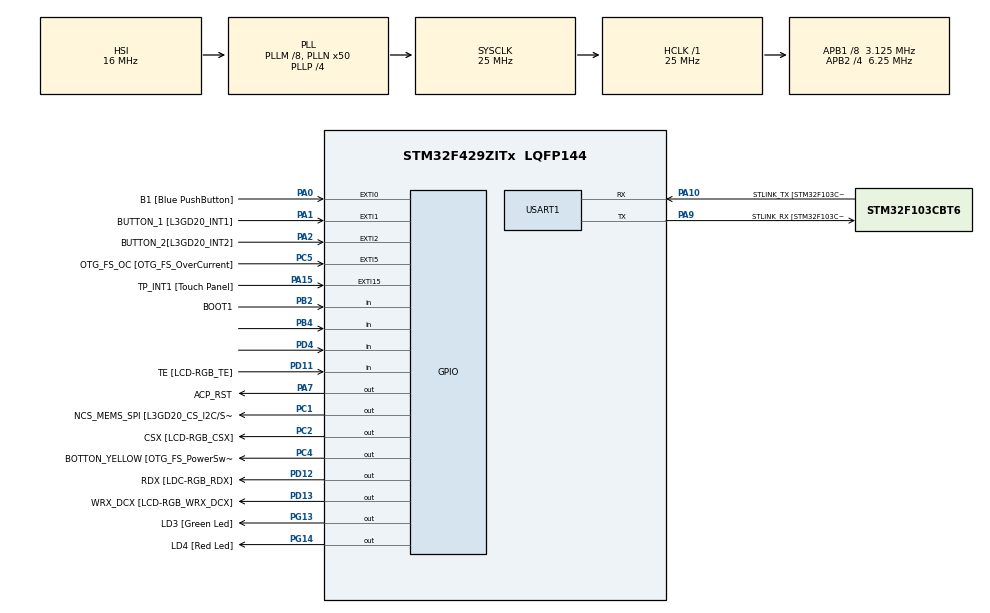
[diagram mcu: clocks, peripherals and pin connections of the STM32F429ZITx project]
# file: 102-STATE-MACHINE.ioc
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Mcu.Family=STM32F4
Mcu.Name=STM32F429ZITx
Mcu.Package=LQFP144
NVIC.EXTI1_IRQn=true\:0\:0\:false\:false\:true\:true\:true\:true
NVIC.EXTI2_IRQn=true\:0\:0\:false\:false\:true\:true\:true\:true
NVIC.PriorityGroup=NVIC_PRIORITYGROUP_4
NVIC.TIM6_DAC_IRQn=true\:0\:0\:false\:false\:true\:false\:true\:true
NVIC.TimeBase=TIM6_DAC_IRQn
NVIC.TimeBaseIP=TIM6
PA0/WKUP.GPIO_Label=B1 [Blue PushButton]
PA0/WKUP.GPIO_ModeDefaultEXTI=GPIO_MODE_EVT_RISING
PA0/WKUP.GPIO_PuPd=GPIO_NOPULL
PA0/WKUP.Signal=GPXTI0
PA1.GPIO_Label=BUTTON_1 [L3GD20_INT1]
PA1.GPIO_ModeDefaultEXTI=GPIO_MODE_IT_RISING
PA1.GPIO_PuPd=GPIO_PULLDOWN
PA1.Signal=GPXTI1
PA10.GPIO_Label=STLINK_TX [STM32F103CBT6_PA2]
PA10.Mode=Asynchronous
PA10.Signal=USART1_RX
PA11.GPIO_Label=R4
PA11.GPIO_Mode=GPIO_MODE_AF_PP
PA11.GPIO_PuPd=GPIO_NOPULL
PA11.GPIO_Speed=GPIO_SPEED_FREQ_LOW
PA11.Signal=LTDC_R4
PA12.GPIO_Label=R5
PA12.GPIO_Mode=GPIO_MODE_AF_PP
PA12.GPIO_PuPd=GPIO_NOPULL
PA12.GPIO_Speed=GPIO_SPEED_FREQ_LOW
PA12.Signal=LTDC_R5
PA13.GPIO_Label=SWDIO
PA13.Signal=SYS_JTMS-SWDIO
PA14.GPIO_Label=SWCLK
PA14.Signal=SYS_JTCK-SWCLK
PA15.GPIO_Label=TP_INT1 [Touch Panel]
PA15.GPIO_ModeDefaultEXTI=GPIO_MODE_EVT_RISING
PA15.GPIO_PuPd=GPIO_NOPULL
PA15.Signal=GPXTI15
PA2.GPIO_Label=BUTTON_2[L3GD20_INT2]
PA2.GPIO_ModeDefaultEXTI=GPIO_MODE_IT_RISING
PA2.GPIO_PuPd=GPIO_PULLDOWN
PA2.Signal=GPXTI2
PA3.GPIO_Label=B5
PA3.GPIO_Mode=GPIO_MODE_AF_PP
PA3.GPIO_PuPd=GPIO_NOPULL
PA3.GPIO_Speed=GPIO_SPEED_FREQ_LOW
PA3.Signal=LTDC_B5
PA4.GPIO_Label=VSYNC
PA4.GPIO_Mode=GPIO_MODE_AF_PP
PA4.GPIO_PuPd=GPIO_NOPULL
PA4.GPIO_Speed=GPIO_SPEED_FREQ_LOW
PA4.Signal=LTDC_VSYNC
PA6.GPIO_Label=G2
PA6.GPIO_Mode=GPIO_MODE_AF_PP
PA6.GPIO_PuPd=GPIO_NOPULL
PA6.GPIO_Speed=GPIO_SPEED_FREQ_LOW
PA6.Signal=LTDC_G2
PA7.GPIO_Label=ACP_RST
PA7.GPIO_Mode=GPIO_MODE_OUTPUT_PP
PA7.GPIO_PuPd=GPIO_NOPULL
PA7.GPIO_Speed=GPIO_SPEED_FREQ_LOW
PA7.Signal=GPIO_Output
PA8.GPIO_Label=I2C3_SCL [ACP/RF_SCL]
PA8.GPIO_Mode=GPIO_MODE_AF_OD
PA8.GPIO_PuPd=GPIO_NOPULL
PA8.GPIO_Speed=GPIO_SPEED_FREQ_LOW
PA8.Signal=I2C3_SCL
PA9.GPIO_Label=STLINK_RX [STM32F103CBT6_PA3]
PA9.Mode=Asynchronous
PA9.Signal=USART1_TX
PB0.GPIO_Label=R3
PB0.GPIO_Mode=GPIO_MODE_AF_PP
PB0.GPIO_PuPd=GPIO_NOPULL
PB0.GPIO_Speed=GPIO_SPEED_FREQ_LOW
PB0.Signal=LTDC_R3
PB1.GPIO_Label=R6
PB1.GPIO_Mode=GPIO_MODE_AF_PP
PB1.GPIO_PuPd=GPIO_NOPULL
PB1.GPIO_Speed=GPIO_SPEED_FREQ_LOW
PB1.Signal=LTDC_R6
PB10.GPIO_Label=G4
PB10.GPIO_Mode=GPIO_MODE_AF_PP
PB10.GPIO_PuPd=GPIO_NOPULL
PB10.GPIO_Speed=GPIO_SPEED_FREQ_LOW
PB10.Signal=LTDC_G4
PB11.GPIO_Label=G5
PB11.GPIO_Mode=GPIO_MODE_AF_PP
PB11.GPIO_PuPd=GPIO_NOPULL
PB11.GPIO_Speed=GPIO_SPEED_FREQ_LOW
PB11.Signal=LTDC_G5
PB12.GPIO_Label=OTG_HS_ID
PB12.GPIO_Mode=GPIO_MODE_AF_PP
PB12.GPIO_PuPd=GPIO_NOPULL
PB12.GPIO_Speed=GPIO_SPEED_FREQ_LOW
PB12.Signal=USB_OTG_HS_ID
PB13.GPIO_Label=VBUS_HS
PB13.GPIO_Mode=GPIO_MODE_INPUT
PB13.GPIO_PuPd=GPIO_NOPULL
PB13.Signal=USB_OTG_HS_VBUS
PB14.GPIO_Label=OTG_HS_DM
PB14.GPIO_Mode=GPIO_MODE_AF_PP
PB14.GPIO_PuPd=GPIO_NOPULL
PB14.GPIO_Speed=GPIO_SPEED_FREQ_LOW
PB14.Signal=USB_OTG_HS_DM
PB15.GPIO_Label=OTG_HS_DP
PB15.GPIO_Mode=GPIO_MODE_AF_PP
PB15.GPIO_PuPd=GPIO_NOPULL
PB15.GPIO_Speed=GPIO_SPEED_FREQ_LOW
PB15.Signal=USB_OTG_HS_DP
PB2/BOOT1.GPIO_Label=BOOT1
PB2/BOOT1.GPIO_Mode=GPIO_MODE_INPUT
PB2/BOOT1.GPIO_PuPd=GPIO_PULLDOWN
PB2/BOOT1.Signal=GPIO_Input
PB4.Signal=GPIO_Input
PB5.GPIO_Label=SDCKE1
PB5.GPIO_Mode=GPIO_MODE_AF_PP
PB5.GPIO_PuPd=GPIO_NOPULL
PB5.GPIO_Speed=GPIO_SPEED_FREQ_VERY_HIGH
PB5.Signal=FMC_SDCKE1
PB6.GPIO_Label=SDNE1 [SDRAM_CS]
PB6.GPIO_Mode=GPIO_MODE_AF_PP
PB6.GPIO_PuPd=GPIO_NOPULL
PB6.GPIO_Speed=GPIO_SPEED_FREQ_VERY_HIGH
PB6.Signal=FMC_SDNE1
PB8.GPIO_Label=B6
PB8.GPIO_Mode=GPIO_MODE_AF_PP
PB8.GPIO_PuPd=GPIO_NOPULL
PB8.GPIO_Speed=GPIO_SPEED_FREQ_LOW
PB8.Signal=LTDC_B6
PB9.GPIO_Label=B7
PB9.GPIO_Mode=GPIO_MODE_AF_PP
PB9.GPIO_PuPd=GPIO_NOPULL
PB9.GPIO_Speed=GPIO_SPEED_FREQ_LOW
PB9.Signal=LTDC_B7
PC0.GPIO_Label=SDNWE
PC0.GPIO_Mode=GPIO_MODE_AF_PP
PC0.GPIO_PuPd=GPIO_NOPULL
PC0.GPIO_Speed=GPIO_SPEED_FREQ_VERY_HIGH
PC0.Signal=FMC_SDNWE
PC1.GPIO_Label=NCS_MEMS_SPI [L3GD20_CS_I2C/SPI]
PC1.GPIO_Mode=GPIO_MODE_OUTPUT_PP
PC1.GPIO_PuPd=GPIO_NOPULL
PC1.GPIO_Speed=GPIO_SPEED_FREQ_LOW
PC1.Signal=GPIO_Output
PC10.GPIO_Label=R2
PC10.GPIO_Mode=GPIO_MODE_AF_PP
PC10.GPIO_PuPd=GPIO_NOPULL
PC10.GPIO_Speed=GPIO_SPEED_FREQ_LOW
PC10.Signal=LTDC_R2
PC14/OSC32_IN.GPIO_Label=PC14-OSC32_IN
PC14/OSC32_IN.Signal=RCC_OSC32_IN
PC15/OSC32_OUT.GPIO_Label=PC15-OSC32_OUT
PC15/OSC32_OUT.Signal=RCC_OSC32_OUT
PC2.GPIO_Label=CSX [LCD-RGB_CSX]
PC2.GPIO_Mode=GPIO_MODE_OUTPUT_PP
PC2.GPIO_PuPd=GPIO_PULLDOWN
PC2.GPIO_Speed=GPIO_SPEED_FREQ_LOW
PC2.Signal=GPIO_Output
PC4.GPIO_Label=BOTTON_YELLOW [OTG_FS_PowerSwitchOn]
PC4.GPIO_Mode=GPIO_MODE_OUTPUT_PP
PC4.GPIO_ModeDefaultOutputPP=GPIO_MODE_OUTPUT_PP
PC4.GPIO_PuPd=GPIO_PULLDOWN
PC4.GPIO_Speed=GPIO_SPEED_FREQ_LOW
PC4.PinState=GPIO_PIN_RESET
PC4.Signal=GPIO_Output
PC5.GPIO_Label=OTG_FS_OC [OTG_FS_OverCurrent]
PC5.GPIO_ModeDefaultEXTI=GPIO_MODE_EVT_RISING
PC5.Signal=GPXTI5
PC6.GPIO_Label=HSYNC
PC6.GPIO_Mode=GPIO_MODE_AF_PP
PC6.GPIO_PuPd=GPIO_NOPULL
PC6.GPIO_Speed=GPIO_SPEED_FREQ_LOW
PC6.Signal=LTDC_HSYNC
PC7.GPIO_Label=G6
PC7.GPIO_Mode=GPIO_MODE_AF_PP
PC7.GPIO_PuPd=GPIO_NOPULL
PC7.GPIO_Speed=GPIO_SPEED_FREQ_LOW
PC7.Signal=LTDC_G6
PC9.GPIO_Label=I2C3_SDA [ACP/RF_SDA]
PC9.GPIO_Mode=GPIO_MODE_AF_OD
PC9.GPIO_PuPd=GPIO_NOPULL
PC9.GPIO_Speed=GPIO_SPEED_FREQ_LOW
PC9.Signal=I2C3_SDA
PD0.GPIO_Label=D2
PD0.GPIO_Mode=GPIO_MODE_AF_PP
PD0.GPIO_PuPd=GPIO_NOPULL
PD0.GPIO_Speed=GPIO_SPEED_FREQ_VERY_HIGH
PD0.Signal=FMC_D2_DA2
PD1.GPIO_Label=D3
PD1.GPIO_Mode=GPIO_MODE_AF_PP
PD1.GPIO_PuPd=GPIO_NOPULL
PD1.GPIO_Speed=GPIO_SPEED_FREQ_VERY_HIGH
PD1.Signal=FMC_D3_DA3
PD10.GPIO_Label=D15
PD10.GPIO_Mode=GPIO_MODE_AF_PP
PD10.GPIO_PuPd=GPIO_NOPULL
PD10.GPIO_Speed=GPIO_SPEED_FREQ_VERY_HIGH
PD10.Signal=FMC_D15_DA15
PD11.GPIO_Label=TE [LCD-RGB_TE]
PD11.GPIO_Mode=GPIO_MODE_INPUT
PD11.GPIO_PuPd=GPIO_NOPULL
PD11.Signal=GPIO_Input
PD12.GPIO_Label=RDX [LDC-RGB_RDX]
PD12.GPIO_Mode=GPIO_MODE_OUTPUT_PP
PD12.GPIO_PuPd=GPIO_NOPULL
PD12.GPIO_Speed=GPIO_SPEED_FREQ_LOW
PD12.Signal=GPIO_Output
PD13.GPIO_Label=WRX_DCX [LCD-RGB_WRX_DCX]
PD13.GPIO_Mode=GPIO_MODE_OUTPUT_PP
PD13.GPIO_PuPd=GPIO_NOPULL
PD13.GPIO_Speed=GPIO_SPEED_FREQ_LOW
PD13.Signal=GPIO_Output
PD14.GPIO_Label=D0
PD14.GPIO_Mode=GPIO_MODE_AF_PP
PD14.GPIO_PuPd=GPIO_NOPULL
PD14.GPIO_Speed=GPIO_SPEED_FREQ_VERY_HIGH
PD14.Signal=FMC_D0_DA0
PD15.GPIO_Label=D1
PD15.GPIO_Mode=GPIO_MODE_AF_PP
PD15.GPIO_PuPd=GPIO_NOPULL
PD15.GPIO_Speed=GPIO_SPEED_FREQ_VERY_HIGH
PD15.Signal=FMC_D1_DA1
PD3.GPIO_Label=G7
PD3.GPIO_Mode=GPIO_MODE_AF_PP
PD3.GPIO_PuPd=GPIO_NOPULL
PD3.GPIO_Speed=GPIO_SPEED_FREQ_LOW
PD3.Signal=LTDC_G7
PD4.Signal=GPIO_Input
PD6.GPIO_Label=B2
PD6.GPIO_Mode=GPIO_MODE_AF_PP
PD6.GPIO_PuPd=GPIO_NOPULL
PD6.GPIO_Speed=GPIO_SPEED_FREQ_LOW
PD6.Signal=LTDC_B2
PD8.GPIO_Label=D13
PD8.GPIO_Mode=GPIO_MODE_AF_PP
PD8.GPIO_PuPd=GPIO_NOPULL
PD8.GPIO_Speed=GPIO_SPEED_FREQ_VERY_HIGH
PD8.Signal=FMC_D13_DA13
PD9.GPIO_Label=D14
PD9.GPIO_Mode=GPIO_MODE_AF_PP
PD9.GPIO_PuPd=GPIO_NOPULL
PD9.GPIO_Speed=GPIO_SPEED_FREQ_VERY_HIGH
PD9.Signal=FMC_D14_DA14
PE0.GPIO_Label=NBL0 [SDRAM_LDQM]
PE0.GPIO_Mode=GPIO_MODE_AF_PP
PE0.GPIO_PuPd=GPIO_NOPULL
PE0.GPIO_Speed=GPIO_SPEED_FREQ_VERY_HIGH
PE0.Signal=FMC_NBL0
PE1.GPIO_Label=NBL1 [SDRAM_UDQM]
PE1.GPIO_Mode=GPIO_MODE_AF_PP
PE1.GPIO_PuPd=GPIO_NOPULL
PE1.GPIO_Speed=GPIO_SPEED_FREQ_VERY_HIGH
PE1.Signal=FMC_NBL1
PE10.GPIO_Label=D7
PE10.GPIO_Mode=GPIO_MODE_AF_PP
PE10.GPIO_PuPd=GPIO_NOPULL
PE10.GPIO_Speed=GPIO_SPEED_FREQ_VERY_HIGH
PE10.Signal=FMC_D7_DA7
PE11.GPIO_Label=D8
PE11.GPIO_Mode=GPIO_MODE_AF_PP
PE11.GPIO_PuPd=GPIO_NOPULL
PE11.GPIO_Speed=GPIO_SPEED_FREQ_VERY_HIGH
PE11.Signal=FMC_D8_DA8
PE12.GPIO_Label=D9
PE12.GPIO_Mode=GPIO_MODE_AF_PP
PE12.GPIO_PuPd=GPIO_NOPULL
PE12.GPIO_Speed=GPIO_SPEED_FREQ_VERY_HIGH
PE12.Signal=FMC_D9_DA9
PE13.GPIO_Label=D10
PE13.GPIO_Mode=GPIO_MODE_AF_PP
PE13.GPIO_PuPd=GPIO_NOPULL
PE13.GPIO_Speed=GPIO_SPEED_FREQ_VERY_HIGH
PE13.Signal=FMC_D10_DA10
PE14.GPIO_Label=D11
PE14.GPIO_Mode=GPIO_MODE_AF_PP
PE14.GPIO_PuPd=GPIO_NOPULL
PE14.GPIO_Speed=GPIO_SPEED_FREQ_VERY_HIGH
PE14.Signal=FMC_D11_DA11
PE15.GPIO_Label=D12
PE15.GPIO_Mode=GPIO_MODE_AF_PP
PE15.GPIO_PuPd=GPIO_NOPULL
PE15.GPIO_Speed=GPIO_SPEED_FREQ_VERY_HIGH
PE15.Signal=FMC_D12_DA12
PE7.GPIO_Label=D4
PE7.GPIO_Mode=GPIO_MODE_AF_PP
PE7.GPIO_PuPd=GPIO_NOPULL
PE7.GPIO_Speed=GPIO_SPEED_FREQ_VERY_HIGH
PE7.Signal=FMC_D4_DA4
PE8.GPIO_Label=D5
PE8.GPIO_Mode=GPIO_MODE_AF_PP
PE8.GPIO_PuPd=GPIO_NOPULL
PE8.GPIO_Speed=GPIO_SPEED_FREQ_VERY_HIGH
PE8.Signal=FMC_D5_DA5
PE9.GPIO_Label=D6
PE9.GPIO_Mode=GPIO_MODE_AF_PP
PE9.GPIO_PuPd=GPIO_NOPULL
PE9.GPIO_Speed=GPIO_SPEED_FREQ_VERY_HIGH
PE9.Signal=FMC_D6_DA6
PF0.GPIO_Label=A0
PF0.GPIO_Mode=GPIO_MODE_AF_PP
PF0.GPIO_PuPd=GPIO_NOPULL
PF0.GPIO_Speed=GPIO_SPEED_FREQ_VERY_HIGH
PF0.Signal=FMC_A0
PF1.GPIO_Label=A1
PF1.GPIO_Mode=GPIO_MODE_AF_PP
PF1.GPIO_PuPd=GPIO_NOPULL
PF1.GPIO_Speed=GPIO_SPEED_FREQ_VERY_HIGH
PF1.Signal=FMC_A1
PF10.GPIO_Label=ENABLE [LCD-RGB_ENABLE]
PF10.GPIO_Mode=GPIO_MODE_AF_PP
PF10.GPIO_PuPd=GPIO_NOPULL
PF10.GPIO_Speed=GPIO_SPEED_FREQ_LOW
PF10.Signal=LTDC_DE
PF11.GPIO_Label=SDNRAS
PF11.GPIO_Mode=GPIO_MODE_AF_PP
PF11.GPIO_PuPd=GPIO_NOPULL
PF11.GPIO_Speed=GPIO_SPEED_FREQ_VERY_HIGH
PF11.Signal=FMC_SDNRAS
PF12.GPIO_Label=A6
PF12.GPIO_Mode=GPIO_MODE_AF_PP
PF12.GPIO_PuPd=GPIO_NOPULL
PF12.GPIO_Speed=GPIO_SPEED_FREQ_VERY_HIGH
PF12.Signal=FMC_A6
PF13.GPIO_Label=A7
PF13.GPIO_Mode=GPIO_MODE_AF_PP
PF13.GPIO_PuPd=GPIO_NOPULL
PF13.GPIO_Speed=GPIO_SPEED_FREQ_VERY_HIGH
PF13.Signal=FMC_A7
PF14.GPIO_Label=A8
PF14.GPIO_Mode=GPIO_MODE_AF_PP
PF14.GPIO_PuPd=GPIO_NOPULL
PF14.GPIO_Speed=GPIO_SPEED_FREQ_VERY_HIGH
PF14.Signal=FMC_A8
PF15.GPIO_Label=A9
PF15.GPIO_Mode=GPIO_MODE_AF_PP
PF15.GPIO_PuPd=GPIO_NOPULL
PF15.GPIO_Speed=GPIO_SPEED_FREQ_VERY_HIGH
PF15.Signal=FMC_A9
PF2.GPIO_Label=A2
PF2.GPIO_Mode=GPIO_MODE_AF_PP
PF2.GPIO_PuPd=GPIO_NOPULL
PF2.GPIO_Speed=GPIO_SPEED_FREQ_VERY_HIGH
PF2.Signal=FMC_A2
PF3.GPIO_Label=A3
PF3.GPIO_Mode=GPIO_MODE_AF_PP
PF3.GPIO_PuPd=GPIO_NOPULL
PF3.GPIO_Speed=GPIO_SPEED_FREQ_VERY_HIGH
PF3.Signal=FMC_A3
PF4.GPIO_Label=A4
PF4.GPIO_Mode=GPIO_MODE_AF_PP
PF4.GPIO_PuPd=GPIO_NOPULL
PF4.GPIO_Speed=GPIO_SPEED_FREQ_VERY_HIGH
PF4.Signal=FMC_A4
PF5.GPIO_Label=A5
PF5.GPIO_Mode=GPIO_MODE_AF_PP
PF5.GPIO_PuPd=GPIO_NOPULL
PF5.GPIO_Speed=GPIO_SPEED_FREQ_VERY_HIGH
PF5.Signal=FMC_A5
PF7.GPIO_Label=SPI5_SCK [L3GD20_SCL/SPC]
PF7.GPIO_Mode=GPIO_MODE_AF_PP
PF7.GPIO_PuPd=GPIO_NOPULL
PF7.GPIO_Speed=GPIO_SPEED_FREQ_LOW
PF7.Signal=SPI5_SCK
PF8.GPIO_Label=SPI5_MISO [L3GD20_SDO]
PF8.GPIO_Mode=GPIO_MODE_AF_PP
PF8.GPIO_PuPd=GPIO_NOPULL
PF8.GPIO_Speed=GPIO_SPEED_FREQ_LOW
PF8.Signal=SPI5_MISO
PF9.GPIO_Label=SPI5_MOSI [L3GD20_SDA/SDI/SDO]
PF9.GPIO_Mode=GPIO_MODE_AF_PP
PF9.GPIO_PuPd=GPIO_NOPULL
PF9.GPIO_Speed=GPIO_SPEED_FREQ_LOW
PF9.Signal=SPI5_MOSI
PG0.GPIO_Label=A10
PG0.GPIO_Mode=GPIO_MODE_AF_PP
PG0.GPIO_PuPd=GPIO_NOPULL
PG0.GPIO_Speed=GPIO_SPEED_FREQ_VERY_HIGH
PG0.Signal=FMC_A10
PG1.GPIO_Label=A11
PG1.GPIO_Mode=GPIO_MODE_AF_PP
PG1.GPIO_PuPd=GPIO_NOPULL
PG1.GPIO_Speed=GPIO_SPEED_FREQ_VERY_HIGH
PG1.Signal=FMC_A11
PG10.GPIO_Label=G3
PG10.GPIO_Mode=GPIO_MODE_AF_PP
PG10.GPIO_PuPd=GPIO_NOPULL
PG10.GPIO_Speed=GPIO_SPEED_FREQ_LOW
PG10.Signal=LTDC_G3
PG11.GPIO_Label=B3
PG11.GPIO_Mode=GPIO_MODE_AF_PP
PG11.GPIO_PuPd=GPIO_NOPULL
PG11.GPIO_Speed=GPIO_SPEED_FREQ_LOW
PG11.Signal=LTDC_B3
PG12.GPIO_Label=B4
PG12.GPIO_Mode=GPIO_MODE_AF_PP
PG12.GPIO_PuPd=GPIO_NOPULL
PG12.GPIO_Speed=GPIO_SPEED_FREQ_LOW
PG12.Signal=LTDC_B4
PG13.GPIO_Label=LD3 [Green Led]
PG13.GPIO_Mode=GPIO_MODE_OUTPUT_PP
PG13.GPIO_PuPd=GPIO_NOPULL
PG13.GPIO_Speed=GPIO_SPEED_FREQ_LOW
PG13.Signal=GPIO_Output
PG14.GPIO_Label=LD4 [Red Led]
PG14.GPIO_Mode=GPIO_MODE_OUTPUT_PP
PG14.GPIO_PuPd=GPIO_NOPULL
PG14.GPIO_Speed=GPIO_SPEED_FREQ_LOW
PG14.Signal=GPIO_Output
PG15.GPIO_Label=SDNCAS
PG15.GPIO_Mode=GPIO_MODE_AF_PP
PG15.GPIO_PuPd=GPIO_NOPULL
PG15.GPIO_Speed=GPIO_SPEED_FREQ_VERY_HIGH
PG15.Signal=FMC_SDNCAS
PG4.GPIO_Label=BA0
PG4.GPIO_Mode=GPIO_MODE_AF_PP
PG4.GPIO_PuPd=GPIO_NOPULL
PG4.GPIO_Speed=GPIO_SPEED_FREQ_VERY_HIGH
PG4.Signal=FMC_A14_BA0
PG5.GPIO_Label=BA1
PG5.GPIO_Mode=GPIO_MODE_AF_PP
PG5.GPIO_PuPd=GPIO_NOPULL
PG5.GPIO_Speed=GPIO_SPEED_FREQ_VERY_HIGH
PG5.Signal=FMC_A15_BA1
PG6.GPIO_Label=R7
PG6.GPIO_Mode=GPIO_MODE_AF_PP
PG6.GPIO_PuPd=GPIO_NOPULL
PG6.GPIO_Speed=GPIO_SPEED_FREQ_LOW
PG6.Signal=LTDC_R7
PG7.GPIO_Label=DOTCLK [LCT-RGB_DOTCLK]
PG7.GPIO_Mode=GPIO_MODE_AF_PP
PG7.GPIO_PuPd=GPIO_NOPULL
PG7.GPIO_Speed=GPIO_SPEED_FREQ_LOW
PG7.Signal=LTDC_CLK
PG8.GPIO_Label=SDCLK
PG8.GPIO_Mode=GPIO_MODE_AF_PP
PG8.GPIO_PuPd=GPIO_NOPULL
PG8.GPIO_Speed=GPIO_SPEED_FREQ_VERY_HIGH
PG8.Signal=FMC_SDCLK
PH0/OSC_IN.GPIO_Label=PH0-OSC_IN
PH0/OSC_IN.Signal=RCC_OSC_IN
PH1/OSC_OUT.GPIO_Label=PH1-OSC_OUT
PH1/OSC_OUT.Signal=RCC_OSC_OUT
ProjectManager.HeapSize=0x200
ProjectManager.StackSize=0x400
ProjectManager.TargetToolchain=STM32CubeIDE
RCC.48MHZClocksFreq_Value=14285714.285714285
RCC.AHBFreq_Value=25000000
RCC.APB1CLKDivider=RCC_HCLK_DIV8
RCC.APB1Freq_Value=3125000
RCC.APB1TimFreq_Value=6250000
RCC.APB2CLKDivider=RCC_HCLK_DIV4
RCC.APB2Freq_Value=6250000
RCC.APB2TimFreq_Value=12500000
RCC.CortexFreq_Value=25000000
RCC.HCLKFreq_Value=25000000
RCC.HSE_VALUE=8000000
RCC.HSI_VALUE=16000000
RCC.LSE_VALUE=32768
RCC.PLLM=8
RCC.PLLN=50
RCC.PLLP=RCC_PLLP_DIV4
RCC.PLLQ=7
RCC.SYSCLKFreq_VALUE=25000000
RCC.SYSCLKSource=RCC_SYSCLKSOURCE_PLLCLK
RCC.VCOOutputFreq_Value=100000000
SH.FMC_A0.0=FMC_A0
SH.FMC_A1.0=FMC_A1
SH.FMC_A10.0=FMC_A10
SH.FMC_A11.0=FMC_A11
SH.FMC_A14_BA0.0=FMC_BA0
SH.FMC_A15_BA1.0=FMC_BA1
SH.FMC_A2.0=FMC_A2
SH.FMC_A3.0=FMC_A3
SH.FMC_A4.0=FMC_A4
SH.FMC_A5.0=FMC_A5
SH.FMC_A6.0=FMC_A6
SH.FMC_A7.0=FMC_A7
SH.FMC_A8.0=FMC_A8
SH.FMC_A9.0=FMC_A9
SH.FMC_D0_DA0.0=FMC_D0
SH.FMC_D10_DA10.0=FMC_D10
SH.FMC_D11_DA11.0=FMC_D11
SH.FMC_D12_DA12.0=FMC_D12
SH.FMC_D13_DA13.0=FMC_D13
SH.FMC_D14_DA14.0=FMC_D14
SH.FMC_D15_DA15.0=FMC_D15
SH.FMC_D1_DA1.0=FMC_D1
SH.FMC_D2_DA2.0=FMC_D2
SH.FMC_D3_DA3.0=FMC_D3
SH.FMC_D4_DA4.0=FMC_D4
SH.FMC_D5_DA5.0=FMC_D5
SH.FMC_D6_DA6.0=FMC_D6
SH.FMC_D7_DA7.0=FMC_D7
SH.FMC_D8_DA8.0=FMC_D8
SH.FMC_D9_DA9.0=FMC_D9
SH.FMC_NBL0.0=FMC_NBL0
SH.FMC_NBL1.0=FMC_NBL1
SH.FMC_SDCLK.0=FMC_SDCLK
SH.FMC_SDNCAS.0=FMC_SDNCAS
SH.FMC_SDNRAS.0=FMC_SDNRAS
SH.FMC_SDNWE.0=FMC_SDNWE
USART1.VirtualMode=VM_ASYNC
VP_SYS_VS_tim6.Mode=TIM6
board=STM32F429I-DISC1

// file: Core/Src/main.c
/* USER CODE BEGIN Header */
/**
  ******************************************************************************
  * @file           : main.c
  * @brief          : Main program body
  ******************************************************************************
  * @attention
  *
  * Copyright (c) 2022 STMicroelectronics.
  * All rights reserved.
  *
  * This software is licensed under terms that can be found in the LICENSE file
  * in the root directory of this software component.
  * If no LICENSE file comes with this software, it is provided AS-IS.
  *
  ******************************************************************************
  */
/* USER CODE END Header */
#include "main.h"
#include "usart.h"
#include "gpio.h"

/* USER CODE BEGIN Includes */
#include "signal.h"
#include "app.h"
/* USER CODE END Includes */

/* USER CODE BEGIN PM */
Q_DEFINE_THIS_FILE;
/* USER CODE END PM */

/* USER CODE BEGIN PV */
static Lamp lamp;
/* USER CODE END PV */

void SystemClock_Config(void);

int main(void)
{

  /* MCU Configuration--------------------------------------------------------*/

  /* Reset of all peripherals, Initializes the Flash interface and the Systick. */
  HAL_Init();

  /* Configure the system clock */
  SystemClock_Config();

  /* Initialize all configured peripherals */
  MX_GPIO_Init();
  MX_USART1_UART_Init();
  /* USER CODE BEGIN 2 */

  Lamp_ctor(&lamp);
  QHSM_INIT( &lamp.super, (QEvt *)0, 0 );

  /* App Init */
  AppInit();

  /* USER CODE END 2 */

  /* Infinite loop */
  while (1)
  {

  }
}

void SystemClock_Config(void)
{
  RCC_OscInitTypeDef RCC_OscInitStruct = {0};
  RCC_ClkInitTypeDef RCC_ClkInitStruct = {0};

  /** Configure the main internal regulator output voltage
  */
  __HAL_RCC_PWR_CLK_ENABLE();
  __HAL_PWR_VOLTAGESCALING_CONFIG(PWR_REGULATOR_VOLTAGE_SCALE3);

  /** Initializes the RCC Oscillators according to the specified parameters
  * in the RCC_OscInitTypeDef structure.
  */
  RCC_OscInitStruct.OscillatorType = RCC_OSCILLATORTYPE_HSI;
  RCC_OscInitStruct.HSIState = RCC_HSI_ON;
  RCC_OscInitStruct.HSICalibrationValue = RCC_HSICALIBRATION_DEFAULT;
  RCC_OscInitStruct.PLL.PLLState = RCC_PLL_ON;
  RCC_OscInitStruct.PLL.PLLSource = RCC_PLLSOURCE_HSI;
  RCC_OscInitStruct.PLL.PLLM = 8;
  RCC_OscInitStruct.PLL.PLLN = 50;
  RCC_OscInitStruct.PLL.PLLP = RCC_PLLP_DIV4;
  RCC_OscInitStruct.PLL.PLLQ = 7;
  if (HAL_RCC_OscConfig(&RCC_OscInitStruct) != HAL_OK)
  {
    Error_Handler();
  }

  /** Initializes the CPU, AHB and APB buses clocks
  */
  RCC_ClkInitStruct.ClockType = RCC_CLOCKTYPE_HCLK|RCC_CLOCKTYPE_SYSCLK
                              |RCC_CLOCKTYPE_PCLK1|RCC_CLOCKTYPE_PCLK2;
  RCC_ClkInitStruct.SYSCLKSource = RCC_SYSCLKSOURCE_PLLCLK;
  RCC_ClkInitStruct.AHBCLKDivider = RCC_SYSCLK_DIV1;
  RCC_ClkInitStruct.APB1CLKDivider = RCC_HCLK_DIV8;
  RCC_ClkInitStruct.APB2CLKDivider = RCC_HCLK_DIV4;

  if (HAL_RCC_ClockConfig(&RCC_ClkInitStruct, FLASH_LATENCY_0) != HAL_OK)
  {
    Error_Handler();
  }
}

/* USER CODE BEGIN 4 */
void Q_onAssert( char const * 	module, int_t 	location ){
	uint8_t log[] = "Q_onAssert\r\n";
	uart_log(log);
	while(1);
}

void HAL_GPIO_EXTI_Callback(uint16_t GPIO_Pin){
	if(GPIO_Pin == BUTTON_2_Pin){
		Lamp_pushSwitch(&lamp);
	}else{
		Lamp_holdSwitch(&lamp);
	}
}

/* USER CODE END 4 */

void HAL_TIM_PeriodElapsedCallback(TIM_HandleTypeDef *htim)
{
  if (htim->Instance == TIM6) {
    HAL_IncTick();
  }
}

void Error_Handler(void)
{
  __disable_irq();
  while (1)
  {
  }
}
